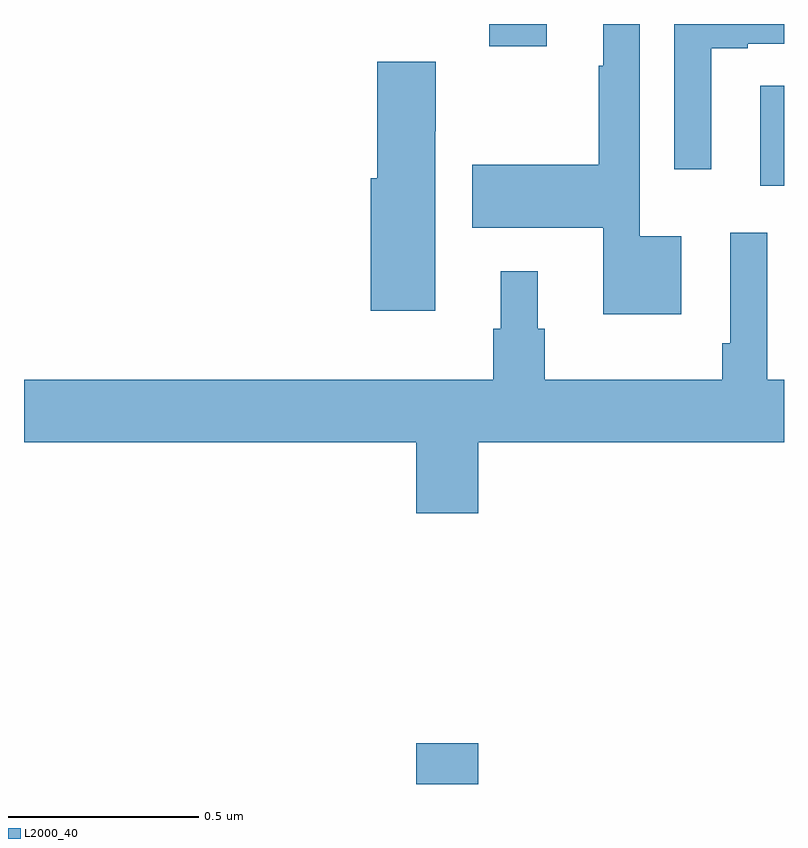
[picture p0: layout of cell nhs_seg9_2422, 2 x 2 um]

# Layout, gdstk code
import gdstk
lib = gdstk.Library(unit=1e-6, precision=1e-09)
def R(c, l, rs):  # rectangles x0, y0, x1, y1
    for r in rs: c.add(gdstk.rectangle(r[:2], r[2:], *l))
def P(c, l, *ps):  # polygons
    for p in ps: c.add(gdstk.Polygon(p, *l))
L2000_40 = (2000, 40)

nhs_seg9_2422 = lib.new_cell('nhs_seg9_2422')
R(nhs_seg9_2422, L2000_40, [(141.032,1215.5,141.196,1215.607), (141.938,1217.075,142,1217.338), (141.224,1217.442,141.376,1217.5)])
P(nhs_seg9_2422, L2000_40, [(141.808,1217.436),(141.904,1217.436),(141.904,1217.448),(142,1217.448),(142,1217.5),(141.711,1217.5),(141.711,1217.118),(141.808,1217.118)],
  [(141.73,1216.942),(141.621,1216.942),(141.621,1217.5),(141.524,1217.5),(141.524,1217.39),(141.513,1217.39),(141.513,1217.13),(141.18,1217.13),(141.18,1216.964),(141.524,1216.964),(141.524,1216.736),(141.73,1216.736)],
  [(141.082,1217.218),(141.084,1217.218),(141.084,1217.401),(140.93,1217.401),(140.93,1217.094),(140.912,1217.094),(140.912,1216.746),(141.082,1216.746)],
  [(141.196,1216.4),(142,1216.4),(142,1216.564),(141.956,1216.564),(141.956,1216.951),(141.858,1216.951),(141.858,1216.66),(141.838,1216.66),(141.838,1216.564),(141.371,1216.564),(141.371,1216.698),(141.352,1216.698),(141.352,1216.849),(141.254,1216.849),(141.254,1216.698),(141.235,1216.698),(141.235,1216.564),(140,1216.564),(140,1216.4),(141.032,1216.4),(141.032,1216.212),(141.196,1216.212)])

lib.write_gds('nhs_seg9_2422.gds')
